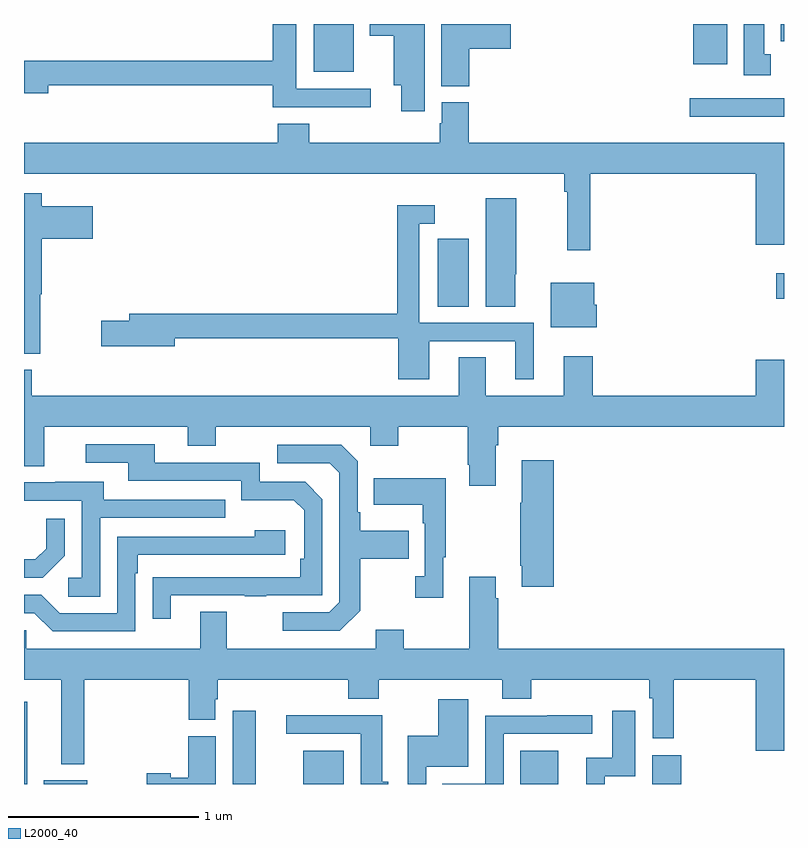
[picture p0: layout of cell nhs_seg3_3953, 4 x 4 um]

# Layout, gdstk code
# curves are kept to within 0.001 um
import gdstk
lib = gdstk.Library(unit=1e-6, precision=1e-09)
def R(c, l, rs):  # rectangles x0, y0, x1, y1
    for r in rs: c.add(gdstk.rectangle(r[:2], r[2:], *l))
def P(c, l, *ps):  # polygons
    for p in ps: c.add(gdstk.Polygon(p, *l))
L2000_40 = (2000, 40)

nhs_seg3_3953 = lib.new_cell('nhs_seg3_3953')
R(nhs_seg3_3953, L2000_40, [(317,668.4,317.017,668.833), (317.105,668.4,317.332,668.419), (318.098,668.4,318.22,668.785), (318.47,668.4,318.682,668.575), (319.613,668.4,319.813,668.575), (320.306,668.4,320.459,668.551), (319.178,670.912,319.342,671.269), (320.958,670.955,321,671.089), (320.505,671.912,321,672.009), (318.524,672.149,318.736,672.4), (320.522,672.188,320.701,672.4), (320.984,672.308,321,672.4)])
P(nhs_seg3_3953, L2000_40, [(319.108,672.4),(318.821,672.4),(318.821,672.338),(318.947,672.338),(318.947,672.077),(318.986,672.077),(318.986,671.94),(319.108,671.94)],
  [(318.826,672.06),(318.433,672.06),(318.433,672.4),(318.308,672.4),(318.308,672.206),(317,672.206),(317,672.035),(317.128,672.035),(317.128,672.078),(318.308,672.078),(318.308,671.963),(318.826,671.963)],
  [(319.343,672.269),(319.561,672.269),(319.561,672.4),(319.196,672.4),(319.196,672.073),(319.343,672.073)],
  [(320.929,672.242),(320.896,672.242),(320.896,672.4),(320.789,672.4),(320.789,672.129),(320.929,672.129)],
  [(319.979,671.612),(320.852,671.612),(320.852,671.238),(321,671.238),(321,671.776),(319.34,671.776),(319.34,671.988),(319.199,671.988),(319.199,671.877),(319.187,671.877),(319.187,671.776),(318.5,671.776),(318.5,671.875),(318.335,671.875),(318.335,671.776),(317,671.776),(317,671.612),(319.843,671.612),(319.843,671.516),(319.858,671.516),(319.858,671.208),(319.979,671.208)],
  [(317.086,670.977),(317.093,670.977),(317.093,671.27),(317.362,671.27),(317.362,671.44),(317.093,671.44),(317.093,671.509),(317,671.509),(317,670.665),(317.086,670.665)],
  [(319.585,671.082),(319.591,671.082),(319.591,671.482),(319.43,671.482),(319.43,670.912),(319.585,670.912)],
  [(319.132,670.731),(319.586,670.731),(319.586,670.53),(319.684,670.53),(319.684,670.827),(319.08,670.827),(319.08,671.349),(319.162,671.349),(319.162,671.446),(318.964,671.446),(318.964,670.874),(317.555,670.874),(317.555,670.838),(317.406,670.838),(317.406,670.703),(317.794,670.703),(317.794,670.746),(318.971,670.746),(318.971,670.53),(319.132,670.53)],
  [(320.014,670.923),(320.002,670.923),(320.002,671.038),(319.772,671.038),(319.772,670.805),(320.014,670.805)],
  [(319.483,670.184),(319.496,670.184),(319.496,670.28),(321,670.28),(321,670.633),(320.852,670.633),(320.852,670.444),(319.994,670.444),(319.994,670.651),(319.841,670.651),(319.841,670.444),(319.429,670.444),(319.429,670.646),(319.289,670.646),(319.289,670.444),(317.042,670.444),(317.042,670.58),(317,670.58),(317,670.072),(317.107,670.072),(317.107,670.28),(317.861,670.28),(317.861,670.181),(318.009,670.181),(318.009,670.28),(318.822,670.28),(318.822,670.181),(318.969,670.181),(318.969,670.28),(319.336,670.28),(319.336,670.081),(319.343,670.081),(319.343,669.969),(319.483,669.969)],
  [(317.773,669.393),(318.163,669.393),(318.163,669.388),(318.275,669.388),(318.275,669.393),(318.57,669.393),(318.57,669.9),(318.48,669.99),(318.24,669.99),(318.24,670.092),(317.689,670.092),(317.689,670.188),(317.325,670.188),(317.325,670.092),(317.549,670.092),(317.549,669.996),(318.144,669.996),(318.144,669.893),(318.421,669.893),(318.474,669.84),(318.474,669.586),(318.454,669.586),(318.454,669.489),(317.677,669.488),(317.677,669.27),(317.773,669.27)],
  [(318.769,669.313),(318.769,669.586),(319.025,669.586),(319.025,669.733),(318.769,669.733),(318.769,669.829),(318.756,669.829),(318.756,670.098),(318.669,670.185),(318.333,670.185),(318.333,670.089),(318.609,670.089),(318.66,670.038),(318.66,669.357),(318.606,669.303),(318.363,669.303),(318.363,669.207),(318.663,669.207)],
  [(319.787,670.105),(319.619,670.105),(319.619,669.881),(319.612,669.881),(319.612,669.55),(319.619,669.55),(319.619,669.438),(319.787,669.438)],
  [(319.207,669.593),(319.219,669.593),(319.219,670.009),(318.841,670.009),(318.841,669.869),(319.098,669.869),(319.098,669.773),(319.11,669.773),(319.11,669.494),(319.059,669.494),(319.059,669.381),(319.207,669.381)],
  [(317.4,669.801),(318.059,669.801),(318.059,669.897),(317.419,669.897),(317.419,669.991),(317.165,669.991),(317.165,669.987),(317,669.987),(317,669.891),(317.304,669.891),(317.304,669.486),(317.232,669.486),(317.232,669.385),(317.4,669.385)],
  [(317.214,669.602),(317.214,669.796),(317.117,669.796),(317.117,669.639),(317.06,669.582),(317,669.582),(317,669.486),(317.098,669.486)],
  [(317.586,669.509),(317.599,669.509),(317.599,669.606),(318.376,669.606),(318.376,669.736),(318.215,669.736),(318.215,669.702),(317.49,669.702),(317.49,669.3),(317.187,669.3),(317.091,669.396),(317,669.396),(317,669.3),(317.055,669.3),(317.151,669.204),(317.586,669.204)],
  [(317.317,668.948),(317.867,668.948),(317.867,668.737),(318.007,668.737),(318.007,668.847),(318.02,668.847),(318.02,668.948),(318.707,668.948),(318.707,668.849),(318.867,668.849),(318.867,668.948),(319.517,668.948),(319.517,668.849),(319.67,668.849),(319.67,668.948),(320.29,668.948),(320.29,668.852),(320.31,668.852),(320.31,668.64),(320.419,668.64),(320.419,668.948),(320.852,668.948),(320.852,668.574),(321,668.574),(321,669.112),(319.496,669.112),(319.496,669.377),(319.483,669.377),(319.483,669.49),(319.343,669.49),(319.343,669.112),(318.999,669.112),(318.999,669.211),(318.851,669.211),(318.851,669.112),(318.067,669.112),(318.067,669.307),(317.927,669.307),(317.927,669.112),(317.013,669.112),(317.013,669.21),(317,669.21),(317,668.948),(317.195,668.948),(317.195,668.504),(317.317,668.504)],
  [(319.116,668.492),(319.339,668.492),(319.339,668.845),(319.181,668.845),(319.181,668.655),(319.02,668.655),(319.02,668.4),(319.116,668.4)],
  [(320.056,668.442),(320.218,668.442),(320.218,668.785),(320.096,668.785),(320.096,668.538),(319.958,668.538),(319.958,668.4),(320.056,668.4)],
  [(318.916,668.413),(318.886,668.413),(318.886,668.762),(318.381,668.762),(318.381,668.664),(318.773,668.664),(318.773,668.4),(318.916,668.4)],
  [(319.524,668.664),(319.99,668.664),(319.99,668.762),(319.753,668.762),(319.753,668.76),(319.428,668.76),(319.428,668.401),(319.201,668.401),(319.201,668.4),(319.524,668.4)],
  [(318.01,668.652),(317.864,668.652),(317.864,668.433),(317.772,668.433),(317.772,668.456),(317.647,668.456),(317.647,668.4),(318.01,668.4)])

lib.write_gds('nhs_seg3_3953.gds')
